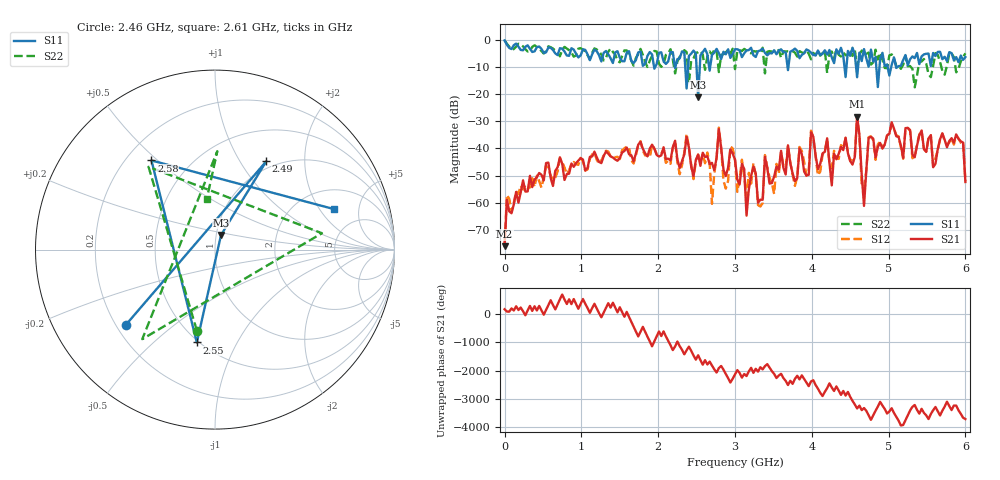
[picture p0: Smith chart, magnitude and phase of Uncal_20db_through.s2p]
#  HZ  S  DB  R  50.0
! Rohde & Schwarz ZVL13 2Ports - Version 3.20 - 1303.6509k13 SN: 100953
! Date: 2024-10-09 08:25:40
! Data & Calibration Information:
! Trc1:S11(Cal Off) Trc4:S21(Cal Off) Trc2:S12(Cal Off) Trc3:S22(Cal Off)
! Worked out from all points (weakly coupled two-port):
!   201 points, 9 kHz to 6 GHz, reference 50 ohm
!   highest |S21| = -28.17 dB at 4.59 GHz (marker M1); lowest = -76.2 dB at 9 kHz (marker M2)
!   lowest |S11| = -21.1 dB at 2.52 GHz (marker M3), VSWR 1.19, Z = 52.8 + j8.64 ohm
!   |S11| at or under -10 dB: 1.947 GHz to 1.958 GHz (10.59 MHz wide, 0.542 % of centre); 2.218839 GHz to 2.222088 GHz (3.249 MHz wide, 0.146 % of centre); 2.352 GHz to 2.389 GHz (36.95 MHz wide, 1.56 % of centre) (the widest 3 of 11)
!   |S22| runs from -17.3 to 0.0 dB; largest |S21 - S12| = 0.0045
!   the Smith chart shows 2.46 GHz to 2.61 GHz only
!   S11 on the Smith chart (normalised r, x): 2.46 GHz: 0.24, -0.35; 2.49 GHz: 0.90, +1.31; 2.55 GHz: 0.49, -0.70; 2.58 GHz: 0.30, +0.48; 2.61 GHz: 3.09, +2.74
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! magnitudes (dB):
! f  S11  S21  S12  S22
! 9 kHz  0.0  -76.2  -75.2  0.0
! 30.01 MHz  -1.6  -59.0  -57.2  -1.2
! 1.02 GHz  -3.3  -44.1  -44.9  -3.4
! 2.01 GHz  -4.6  -43.0  -41.5  -8.6
! 2.46 GHz  -3.8  -50.2  -51.3  -6.7
! 2.49 GHz  -4.9  -44.2  -44.7  -4.6
! 2.52 GHz  -21.1  -42.3  -42.2  -4.4
! 2.55 GHz  -5.6  -46.4  -44.9  -3.8
! 2.58 GHz  -4.3  -41.6  -42.0  -5.2
! 2.61 GHz  -3.1  -43.1  -45.5  -10.9
! 2.7 GHz  -5.3  -45.3  -60.5  -5.3
! 2.79 GHz  -4.7  -32.8  -32.3  -11.7
! 3 GHz  -3.3  -44.1  -44.2  -10.6
! 3.15 GHz  -3.7  -64.9  -57.9  -3.7
! 4.02 GHz  -5.4  -35.7  -35.8  -4.6
! 4.26 GHz  -6.3  -53.7  -47.3  -4.1
! 4.59 GHz  -13.6  -28.2  -28.0  -9.5
! 4.68 GHz  -3.2  -61.3  -54.6  -4.3
! 4.74 GHz  -9.7  -36.1  -35.8  -4.5
! 5.01 GHz  -13.0  -34.5  -34.5  -5.5
! 5.88 GHz  -6.2  -34.8  -35.3  -11.8
! 6 GHz  -6.2  -52.4  -52.0  -4.8
